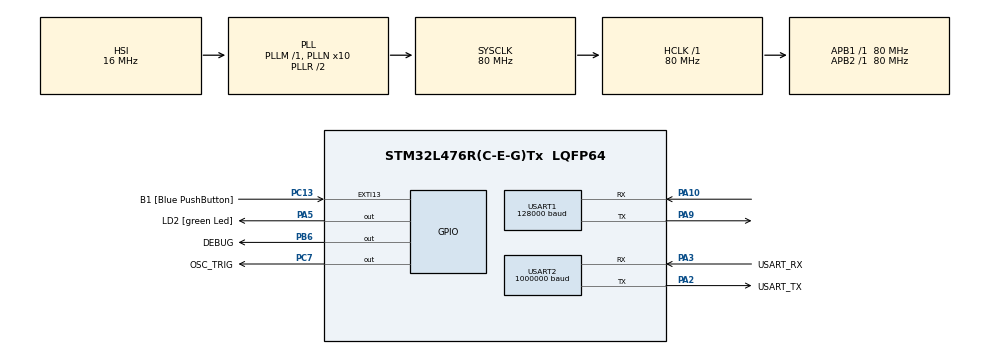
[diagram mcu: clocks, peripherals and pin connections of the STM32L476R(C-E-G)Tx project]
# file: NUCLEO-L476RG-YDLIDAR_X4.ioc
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Mcu.Family=STM32L4
Mcu.Name=STM32L476R(C-E-G)Tx
Mcu.Package=LQFP64
NVIC.PriorityGroup=NVIC_PRIORITYGROUP_4
NVIC.USART1_IRQn=true\:0\:0\:false\:false\:true\:true\:true\:true
PA10.Mode=Asynchronous
PA10.Signal=USART1_RX
PA13\ (JTMS-SWDIO).GPIO_Label=TMS
PA13\ (JTMS-SWDIO).Mode=Serial_Wire
PA13\ (JTMS-SWDIO).Signal=SYS_JTMS-SWDIO
PA14\ (JTCK-SWCLK).GPIO_Label=TCK
PA14\ (JTCK-SWCLK).Mode=Serial_Wire
PA14\ (JTCK-SWCLK).Signal=SYS_JTCK-SWCLK
PA2.GPIO_Label=USART_TX
PA2.GPIO_Mode=GPIO_MODE_AF_PP
PA2.GPIO_PuPd=GPIO_NOPULL
PA2.GPIO_Speed=GPIO_SPEED_FREQ_VERY_HIGH
PA2.Mode=Asynchronous
PA2.Signal=USART2_TX
PA3.GPIO_Label=USART_RX
PA3.GPIO_Mode=GPIO_MODE_AF_PP
PA3.GPIO_PuPd=GPIO_NOPULL
PA3.GPIO_Speed=GPIO_SPEED_FREQ_VERY_HIGH
PA3.Mode=Asynchronous
PA3.Signal=USART2_RX
PA5.GPIO_Label=LD2 [green Led]
PA5.GPIO_ModeDefaultOutputPP=GPIO_MODE_OUTPUT_PP
PA5.GPIO_PuPd=GPIO_NOPULL
PA5.GPIO_Speed=GPIO_SPEED_FREQ_LOW
PA5.Signal=GPIO_Output
PA9.Mode=Asynchronous
PA9.Signal=USART1_TX
PB3\ (JTDO-TRACESWO).GPIO_Label=SWO
PB3\ (JTDO-TRACESWO).Signal=SYS_JTDO-SWO
PB6.GPIO_Label=DEBUG
PB6.Signal=GPIO_Output
PC13.GPIO_Label=B1 [Blue PushButton]
PC13.GPIO_ModeDefaultEXTI=GPIO_MODE_IT_FALLING
PC13.GPIO_PuPd=GPIO_NOPULL
PC13.Signal=GPXTI13
PC14-OSC32_IN\ (PC14).Mode=LSE-External-Oscillator
PC14-OSC32_IN\ (PC14).Signal=RCC_OSC32_IN
PC15-OSC32_OUT\ (PC15).Mode=LSE-External-Oscillator
PC15-OSC32_OUT\ (PC15).Signal=RCC_OSC32_OUT
PC7.GPIO_Label=OSC_TRIG
PC7.Signal=GPIO_Output
PH0-OSC_IN\ (PH0).Signal=RCC_OSC_IN
PH1-OSC_OUT\ (PH1).Signal=RCC_OSC_OUT
ProjectManager.HeapSize=0x200
ProjectManager.StackSize=0x400
ProjectManager.TargetToolchain=STM32CubeIDE
RCC.ADCFreq_Value=64000000
RCC.AHBFreq_Value=80000000
RCC.APB1Freq_Value=80000000
RCC.APB1TimFreq_Value=80000000
RCC.APB2Freq_Value=80000000
RCC.APB2TimFreq_Value=80000000
RCC.CortexFreq_Value=80000000
RCC.HCLKFreq_Value=80000000
RCC.HSE_VALUE=8000000
RCC.HSI_VALUE=16000000
RCC.MSI_VALUE=4000000
RCC.PLLN=10
RCC.PLLSourceVirtual=RCC_PLLSOURCE_HSI
RCC.PREFETCH_ENABLE=1
RCC.SYSCLKFreq_VALUE=80000000
RCC.SYSCLKSource=RCC_SYSCLKSOURCE_PLLCLK
RCC.USBFreq_Value=64000000
RCC.VCOOutputFreq_Value=160000000
USART1.BaudRate=128000
USART1.VirtualMode-Asynchronous=VM_ASYNC
USART2.BaudRate=1000000
USART2.VirtualMode-Asynchronous=VM_ASYNC
board=NUCLEO-L476RG

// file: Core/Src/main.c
/* USER CODE BEGIN Header */
/**
 ******************************************************************************
 * @file           : main.c
 * @brief          : Main program body
 ******************************************************************************
 * @attention
 *
 * Copyright (c) 2024 STMicroelectronics.
 * All rights reserved.
 *
 * This software is licensed under terms that can be found in the LICENSE file
 * in the root directory of this software component.
 * If no LICENSE file comes with this software, it is provided AS-IS.
 *
 ******************************************************************************
 */
/* USER CODE END Header */
#include "main.h"
#include "usart.h"
#include "gpio.h"

/* USER CODE BEGIN Includes */
#include "ydlidar_x4.h"
/* USER CODE END Includes */

void SystemClock_Config(void);

int main(void)
{

	/* MCU Configuration--------------------------------------------------------*/

	/* Reset of all peripherals, Initializes the Flash interface and the Systick. */
	HAL_Init();

	/* Configure the system clock */
	SystemClock_Config();

	/* Initialize all configured peripherals */
	MX_GPIO_Init();
	MX_USART1_UART_Init();
	MX_USART2_UART_Init();
	/* USER CODE BEGIN 2 */
	txBufferSize = snprintf((char *)uart2TxBuffer, UART_TX_BUFFER_SIZE, "Simple code for YDLIDAR X4\r\n");
	HAL_UART_Transmit(&huart2, uart2TxBuffer, txBufferSize, 10);
	YDLIDAR_X4_Init(&hlidar, &huart1);
	/* USER CODE END 2 */

	/* Infinite loop */
	/* USER CODE BEGIN WHILE */
	while (1)
	{
		if(hlidar.newData){
			YDLIDAR_X4_Compute_Payload(&hlidar);
			hlidar.newData = 0;
		}
		/* USER CODE END WHILE */

	}
}

void SystemClock_Config(void)
{
	RCC_OscInitTypeDef RCC_OscInitStruct = {0};
	RCC_ClkInitTypeDef RCC_ClkInitStruct = {0};

	/** Configure the main internal regulator output voltage
	 */
	if (HAL_PWREx_ControlVoltageScaling(PWR_REGULATOR_VOLTAGE_SCALE1) != HAL_OK)
	{
		Error_Handler();
	}

	/** Initializes the RCC Oscillators according to the specified parameters
	 * in the RCC_OscInitTypeDef structure.
	 */
	RCC_OscInitStruct.OscillatorType = RCC_OSCILLATORTYPE_HSI;
	RCC_OscInitStruct.HSIState = RCC_HSI_ON;
	RCC_OscInitStruct.HSICalibrationValue = RCC_HSICALIBRATION_DEFAULT;
	RCC_OscInitStruct.PLL.PLLState = RCC_PLL_ON;
	RCC_OscInitStruct.PLL.PLLSource = RCC_PLLSOURCE_HSI;
	RCC_OscInitStruct.PLL.PLLM = 1;
	RCC_OscInitStruct.PLL.PLLN = 10;
	RCC_OscInitStruct.PLL.PLLP = RCC_PLLP_DIV7;
	RCC_OscInitStruct.PLL.PLLQ = RCC_PLLQ_DIV2;
	RCC_OscInitStruct.PLL.PLLR = RCC_PLLR_DIV2;
	if (HAL_RCC_OscConfig(&RCC_OscInitStruct) != HAL_OK)
	{
		Error_Handler();
	}

	/** Initializes the CPU, AHB and APB buses clocks
	 */
	RCC_ClkInitStruct.ClockType = RCC_CLOCKTYPE_HCLK|RCC_CLOCKTYPE_SYSCLK
			|RCC_CLOCKTYPE_PCLK1|RCC_CLOCKTYPE_PCLK2;
	RCC_ClkInitStruct.SYSCLKSource = RCC_SYSCLKSOURCE_PLLCLK;
	RCC_ClkInitStruct.AHBCLKDivider = RCC_SYSCLK_DIV1;
	RCC_ClkInitStruct.APB1CLKDivider = RCC_HCLK_DIV1;
	RCC_ClkInitStruct.APB2CLKDivider = RCC_HCLK_DIV1;

	if (HAL_RCC_ClockConfig(&RCC_ClkInitStruct, FLASH_LATENCY_4) != HAL_OK)
	{
		Error_Handler();
	}
}

/* USER CODE BEGIN 4 */
void HAL_UART_RxCpltCallback(UART_HandleTypeDef *huart)
{
	if(huart->Instance==huart1.Instance){
//		HAL_GPIO_WritePin(DEBUG_GPIO_Port, DEBUG_Pin, SET);
		YDLIDAR_X4_State_Machine(&hlidar);
//		HAL_GPIO_WritePin(DEBUG_GPIO_Port, DEBUG_Pin, RESET);
	}
	if(huart->Instance==huart2.Instance){
		uart1TxBuffer[0] = uart2RxBuffer[0];
		uart2TxBuffer[0] = uart2RxBuffer[0];
		HAL_UART_Transmit(&huart1, uart1TxBuffer, 1, 10);
		HAL_UART_Transmit(&huart2, uart2TxBuffer, 1, 10);
		HAL_UART_Receive_IT(&huart2, uart2RxBuffer, 1);
	}
}
/* USER CODE END 4 */

void Error_Handler(void)
{
	__disable_irq();
	while (1)
	{
	}
}
